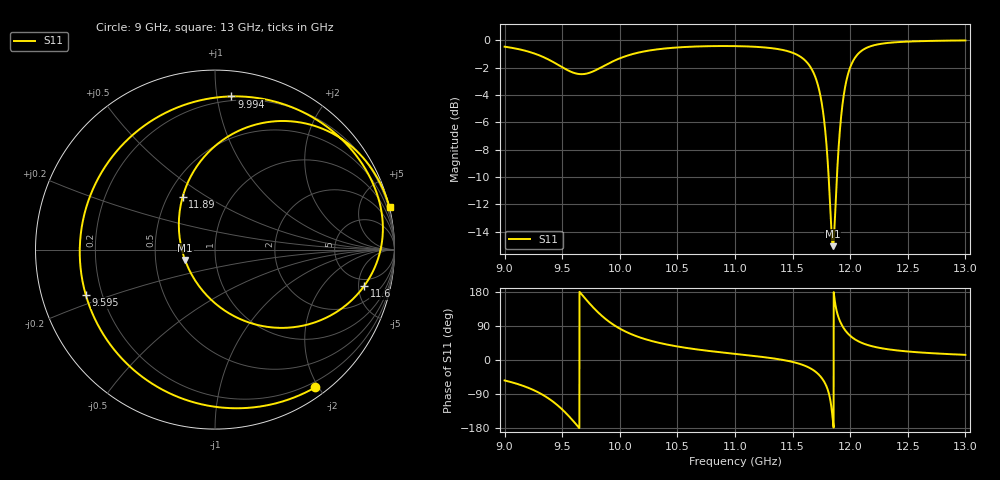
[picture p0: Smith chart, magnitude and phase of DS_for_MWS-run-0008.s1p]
! TOUCHSTONE file generated by CST DESIGN STUDIO
! Date and time: Tue Feb  4 16:26:44 2025
! Project name: C:\Work\MatlabApps\UnitCellOptimizationMatlab\CST\unitcell.cst
! Tree item: Tasks\Sweep1\SPara1\S-Parameters
! Header version: 2024
! Port assignment regex: !\s*Touchstone port\s*([0-9]+)\s*=\s*(CST MWS port|CST DES external port|CST DES block port)\s*(.+)\s* \(\"(.*)\"\)(\s*mode\s*([0-9]+))?.*
! Touchstone port assignment:
! Touchstone port 1 = CST DES external port 1 ("")
# GHz S MA R 50
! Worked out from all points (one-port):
!   4001 points, 9 GHz to 13 GHz, reference 50 ohm
!   lowest |S11| = -15.1 dB at 11.85 GHz (marker M1), VSWR 1.43, Z = 35.5 - j4.28 ohm
!   |S11| at or under -10 dB: 11.81 GHz to 11.88 GHz (71.4 MHz wide, 0.603 % of centre)
!   S11 on the Smith chart (normalised r, x): 9 GHz: 0.13, -1.96; 9.595 GHz: 0.14, -0.17; 9.994 GHz: 0.17, +1.10; 11.6 GHz: 3.81, -5.78; 11.89 GHz: 0.60, +0.39; 13 GHz: -0.01, +8.38
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9  0.9493 -54.0
9.164  0.9208 -68.6
9.316  0.8772 -89.3
9.414  0.8377 -108.5
9.5  0.7986 -130.5
9.595  0.7629 -160.7
9.693  0.7541 164.5
9.806  0.7843 127.3
9.893  0.82 104.3
9.994  0.8585 83.9
10  0.8605 82.8
10.217  0.9131 55.3
10.5  0.9431 35.7
11  0.9537 16.2
11.5  0.9018 -5.1
11.596  0.8548 -13.8
11.691  0.7465 -29.0
11.766  0.5419 -53.2
11.808  0.3433 -81.1
11.835  0.2082 -120.6
11.85  0.1767 -160.7
11.889  0.3435 121.8
11.941  0.6183 85.2
12  0.7972 63.9
12.075  0.8991 48.7
12.17  0.9505 37.9
12.5  0.9908 22.5
13  1 13.6
